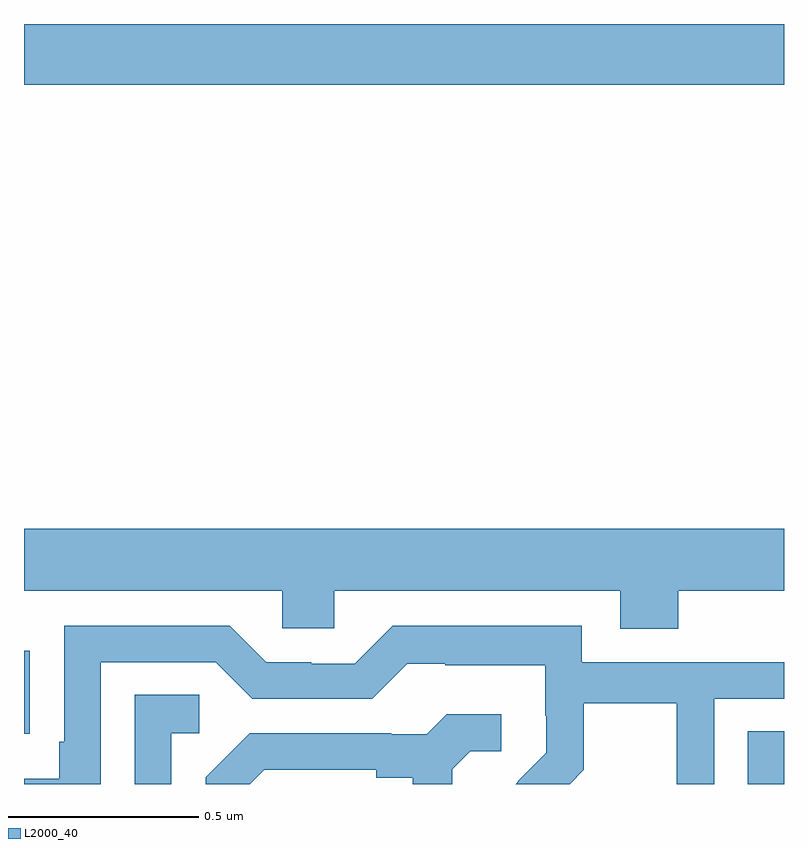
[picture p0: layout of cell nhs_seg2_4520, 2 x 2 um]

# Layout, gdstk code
import gdstk
lib = gdstk.Library(unit=1e-6, precision=1e-09)
def R(c, l, rs):  # rectangles x0, y0, x1, y1
    for r in rs: c.add(gdstk.rectangle(r[:2], r[2:], *l))
def P(c, l, *ps):  # polygons
    for p in ps: c.add(gdstk.Polygon(p, *l))
L2000_40 = (2000, 40)

nhs_seg2_4520 = lib.new_cell('nhs_seg2_4520')
R(nhs_seg2_4520, L2000_40, [(168.905,641.8,169,641.939), (167,641.932,167.015,642.151), (167,643.64,169,643.8)])
P(nhs_seg2_4520, L2000_40, [(168.722,642.308),(169,642.308),(169,642.472),(167,642.472),(167,642.308),(167.679,642.308),(167.679,642.21),(167.817,642.21),(167.817,642.308),(168.569,642.308),(168.569,642.209),(168.722,642.209)],
  [(167.202,642.12),(167.505,642.12),(167.601,642.024),(167.916,642.024),(168.009,642.117),(168.109,642.117),(168.109,642.113),(168.372,642.113),(168.372,641.979),(168.374,641.979),(168.374,641.882),(168.3,641.808),(168.301,641.807),(168.294,641.8),(168.436,641.8),(168.473,641.837),(168.473,642.012),(168.718,642.012),(168.718,641.8),(168.816,641.8),(168.816,642.024),(169,642.024),(169,642.12),(168.468,642.12),(168.468,642.217),(167.971,642.217),(167.871,642.117),(167.756,642.117),(167.756,642.12),(167.637,642.12),(167.541,642.216),(167.106,642.216),(167.106,641.911),(167.093,641.911),(167.093,641.814),(167,641.814),(167,641.8),(167.202,641.8)],
  [(167.388,641.934),(167.461,641.934),(167.461,642.035),(167.292,642.035),(167.292,641.8),(167.388,641.8)],
  [(167.632,641.838),(167.927,641.838),(167.927,641.816),(168.023,641.816),(168.023,641.8),(168.127,641.8),(168.127,641.839),(168.174,641.886),(168.256,641.886),(168.256,641.983),(168.112,641.983),(168.06,641.931),(167.966,641.931),(167.966,641.934),(167.594,641.934),(167.478,641.818),(167.478,641.8),(167.594,641.8)])

lib.write_gds('nhs_seg2_4520.gds')
